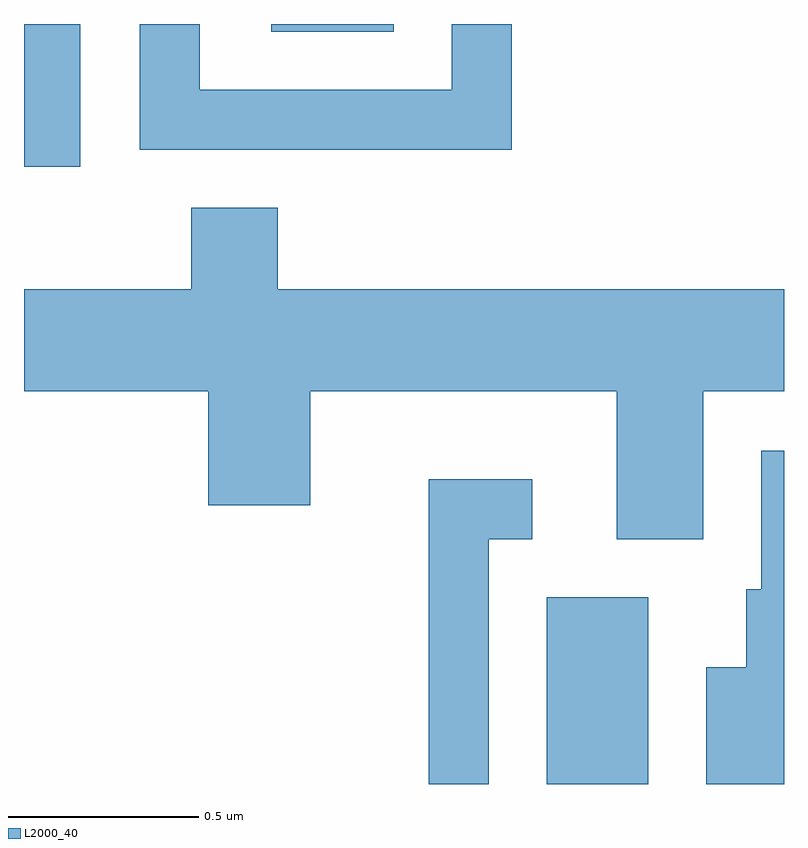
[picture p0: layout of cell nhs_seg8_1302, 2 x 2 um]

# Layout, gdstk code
import gdstk
lib = gdstk.Library(unit=1e-6, precision=1e-09)
def R(c, l, rs):  # rectangles x0, y0, x1, y1
    for r in rs: c.add(gdstk.rectangle(r[:2], r[2:], *l))
def P(c, l, *ps):  # polygons
    for p in ps: c.add(gdstk.Polygon(p, *l))
L2000_40 = (2000, 40)

nhs_seg8_1302 = lib.new_cell('nhs_seg8_1302')
R(nhs_seg8_1302, L2000_40, [(195.986,1875.342,196.254,1875.834), (194.611,1876.966,194.759,1877.342), (195.261,1877.321,195.584,1877.342)])
P(nhs_seg8_1302, L2000_40, [(195.894,1877.342),(195.736,1877.342),(195.736,1877.169),(195.074,1877.169),(195.074,1877.342),(194.916,1877.342),(194.916,1877.011),(195.894,1877.011)],
  [(196.399,1876.376),(196.611,1876.376),(196.611,1876.644),(195.279,1876.644),(195.279,1876.859),(195.051,1876.859),(195.051,1876.644),(194.611,1876.644),(194.611,1876.376),(195.096,1876.376),(195.096,1876.076),(195.364,1876.076),(195.364,1876.376),(196.171,1876.376),(196.171,1875.986),(196.399,1875.986)],
  [(196.611,1876.219),(196.551,1876.219),(196.551,1875.854),(196.511,1875.854),(196.511,1875.649),(196.406,1875.649),(196.406,1875.342),(196.611,1875.342)],
  [(195.834,1875.986),(195.948,1875.986),(195.948,1876.144),(195.676,1876.144),(195.676,1875.342),(195.834,1875.342)])

lib.write_gds('nhs_seg8_1302.gds')
